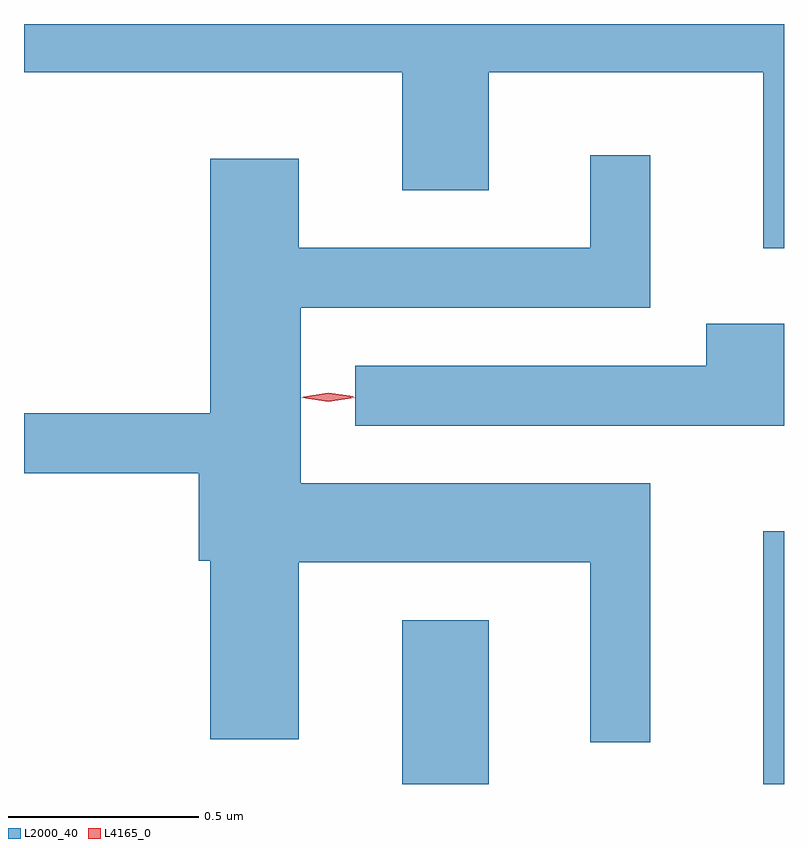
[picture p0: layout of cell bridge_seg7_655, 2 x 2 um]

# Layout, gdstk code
import gdstk
lib = gdstk.Library(unit=1e-6, precision=1e-09)
def R(c, l, rs):  # rectangles x0, y0, x1, y1
    for r in rs: c.add(gdstk.rectangle(r[:2], r[2:], *l))
def P(c, l, *ps):  # polygons
    for p in ps: c.add(gdstk.Polygon(p, *l))
L2000_40 = (2000, 40)
L4165_0 = (4165, 0)

bridge_seg7_655 = lib.new_cell('bridge_seg7_655')
R(bridge_seg7_655, L2000_40, [(757.481,1701.343,757.709,1701.774), (758.431,1701.343,758.486,1702.008)])
P(bridge_seg7_655, L2000_40, [(758.486,1703.343),(756.486,1703.343),(756.486,1703.216),(757.481,1703.216),(757.481,1702.906),(757.709,1702.906),(757.709,1703.216),(758.431,1703.216),(758.431,1702.753),(758.486,1702.753)],
  [(758.134,1702.134),(757.214,1702.134),(757.214,1702.596),(758.134,1702.596),(758.134,1702.998),(757.976,1702.998),(757.976,1702.754),(757.209,1702.754),(757.209,1702.989),(756.976,1702.989),(756.976,1702.319),(756.486,1702.319),(756.486,1702.161),(756.946,1702.161),(756.946,1701.931),(756.976,1701.931),(756.976,1701.461),(757.209,1701.461),(757.209,1701.926),(757.976,1701.926),(757.976,1701.453),(758.134,1701.453)],
  [(758.486,1702.554),(758.281,1702.554),(758.281,1702.444),(757.358,1702.444),(757.358,1702.286),(758.486,1702.286)])
P(bridge_seg7_655, L4165_0, [(757.287,1702.349),(757.217,1702.359),(757.217,1702.359),(757.217,1702.36),(757.286,1702.369),(757.356,1702.36),(757.356,1702.36),(757.356,1702.359)],
  [(757.287,1702.352),(757.222,1702.361),(757.221,1702.362),(757.222,1702.362),(757.287,1702.372),(757.352,1702.363),(757.353,1702.362),(757.352,1702.362)])

lib.write_gds('bridge_seg7_655.gds')
